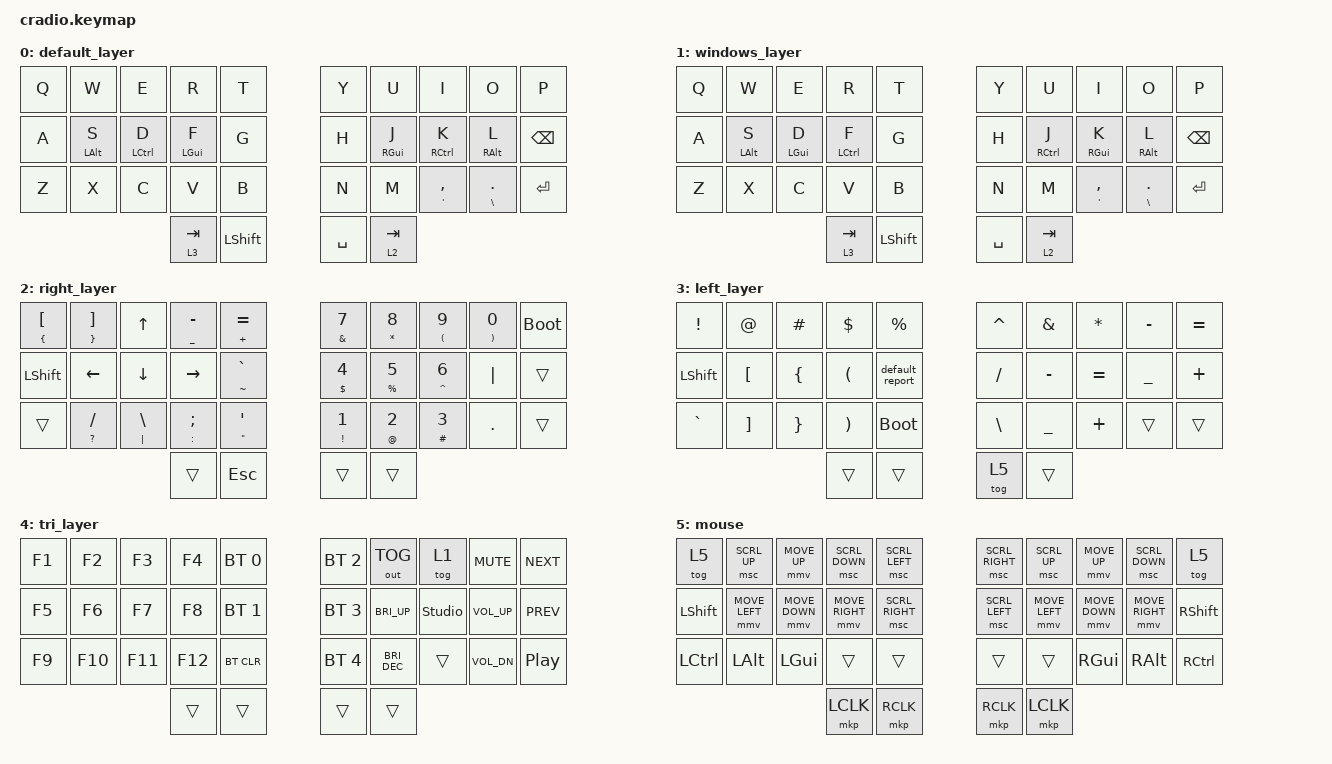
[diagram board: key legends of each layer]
// Copyright (c) 2022 The ZMK Contributors
// SPDX-License-Identifier: MIT

#define ZMK_MOUSE_DEFAULT_MOVE_VAL 920  // 600
#define ZMK_MOUSE_DEFAULT_SCRL_VAL 10    // 10

#include <dt-bindings/zmk/mouse.h>
#include <behaviors.dtsi>
#include <dt-bindings/zmk/bt.h>
#include <dt-bindings/zmk/keys.h>
#include <dt-bindings/zmk/outputs.h>

#define MAC 0
#define WIN 1
#define RIG 2
#define LEF 3
#define TRI 4
#define MOUSE 5

/ {
    chosen { zmk,charmap = &charmap_us; };

    behaviors {
        ht: hold_tap {
            label = "hold_tap";
            compatible = "zmk,behavior-hold-tap";
            #binding-cells = <2>;
            flavor = "tap-preferred";
            tapping-term-ms = <220>;
            quick-tap-ms = <150>;
            global-quick-tap;
            bindings = <&kp>, <&kp>;
        };

        mmv {
            acceleration-exponent = <1>;      // 1
            time-to-max-speed-ms = <500>;    // 100
            delay-ms = <0>;                   // 0
        };

        msc {
            acceleration-exponent = <0>;      // 0
            time-to-max-speed-ms = <0>;      // 80
            delay-ms = <0>;                   // 0
        };
    };

    conditional_layers {
        compatible = "zmk,conditional-layers";

        tri_layer {
            if-layers = <2 3>;
            then-layer = <4>;
        };
    };

    combos {
        compatible = "zmk,combos";

        qst {
            bindings = <&kp SLASH>;
            key-positions = <28 15>;
            layers = <0 1>;
        };

        rb {
            bindings = <&kp RPAR>;
            key-positions = <9 15>;
            layers = <0 1>;
        };

        lb {
            bindings = <&kp LPAR>;
            key-positions = <8 15>;
            layers = <0 1>;
        };

        star {
            bindings = <&kp STAR>;
            key-positions = <7 15>;
            layers = <0 1>;
        };

        amp {
            bindings = <&kp AMPS>;
            key-positions = <6 15>;
            layers = <0 1>;
        };

        caret {
            bindings = <&kp CARET>;
            key-positions = <5 15>;
            layers = <0 1>;
        };

        lcb {
            bindings = <&kp LEFT_BRACKET>;
            key-positions = <15 16>;
            layers = <0 1>;
        };

        rcb {
            bindings = <&kp RIGHT_BRACKET>;
            key-positions = <15 17>;
            layers = <0 1>;
        };

        bslsh {
            bindings = <&kp BACKSLASH>;
            key-positions = <15 18>;
            layers = <0 1>;
        };

        pct {
            bindings = <&kp PRCNT>;
            key-positions = <4 14>;
            layers = <0 1>;
        };

        dollar {
            bindings = <&kp DLLR>;
            key-positions = <3 14>;
            layers = <0 1>;
        };

        hash {
            bindings = <&kp HASH>;
            key-positions = <2 14>;
            layers = <0 1>;
        };

        at {
            bindings = <&kp AT>;
            key-positions = <1 14>;
            layers = <0 1>;
        };

        exclaim {
            bindings = <&kp EXCL>;
            key-positions = <0 14>;
            layers = <0 1>;
        };

        til {
            bindings = <&kp GRAVE>;
            key-positions = <10 14>;
            layers = <0 1>;
        };

        caps {
            bindings = <&kp CAPS>;
            key-positions = <20 10>;
            layers = <0 1>;
        };

        minus {
            bindings = <&kp MINUS>;
            key-positions = <15 19>;
            layers = <0 1 2>;
        };

        equal {
            bindings = <&kp EQUAL>;
            key-positions = <15 29>;
            layers = <0 1 2>;
        };

        esc {
            bindings = <&kp ESCAPE>;
            key-positions = <0 1>;
            layers = <0 1>;
        };

        colon {
            bindings = <&kp SEMICOLON>;
            key-positions = <26 15>;
            layers = <0 1 2>;
        };

        Quote {
            bindings = <&kp APOSTROPHE>;
            key-positions = <27 15>;
            layers = <0 1 2>;
        };

        period {
            bindings = <&kp SEMICOLON>;
            key-positions = <27 28>;
            layers = <0 1 2>;
        };
    };

    keymap {
        compatible = "zmk,keymap";

        default_layer {
            bindings = <
&kp Q  &kp W       &kp E        &kp R       &kp T         &kp Y      &kp U       &kp I          &kp O                 &kp P
&kp A  &ht LALT S  &ht LCTRL D  &ht LGUI F  &kp G         &kp H      &ht RGUI J  &ht RCTRL K    &ht RALT L            &kp BSPC
&kp Z  &kp X       &kp C        &kp V       &kp B         &kp N      &kp M       &ht SQT COMMA  &ht BACKSLASH PERIOD  &kp ENTER
                                &lt 3 TAB   &kp LSHIFT    &kp SPACE  &lt 2 TAB
            >;
        };

        windows_layer {
            bindings = <
&kp Q  &kp W       &kp E       &kp R        &kp T         &kp Y      &kp U        &kp I          &kp O              &kp P
&kp A  &ht LALT S  &ht LGUI D  &ht LCTRL F  &kp G         &kp H      &ht RCTRL J  &ht RGUI K     &ht RALT L         &kp BSPC
&kp Z  &kp X       &kp C       &kp V        &kp B         &kp N      &kp M        &ht SQT COMMA  &ht BACKSLASH DOT  &kp ENTER
                               &lt 3 TAB    &kp LSHIFT    &kp SPACE  &lt 2 TAB
            >;
        };

        right_layer {
            bindings = <
&ht LBRC LEFT_BRACKET  &ht RBRC RIGHT_BRACKET  &kp UP              &ht UNDER MINUS      &ht PLUS EQUAL     &ht AMPS NUMBER_7  &ht STAR NUMBER_8   &ht LPAR NUMBER_9   &ht RPAR NUMBER_0  &bootloader
&kp LEFT_SHIFT         &kp LEFT                &kp DOWN            &kp RIGHT            &ht TILDE GRAVE    &ht DLLR NUMBER_4  &ht PRCNT NUMBER_5  &ht CARET NUMBER_6  &kp PIPE           &trans
&trans                 &ht QMARK SLASH         &ht PIPE BACKSLASH  &ht COLON SEMICOLON  &ht DQT SQT        &ht EXCL NUMBER_1  &ht AT NUMBER_2     &ht HASH NUMBER_3   &kp PERIOD         &trans
                                                                   &trans               &kp ESC            &trans             &trans
            >;
        };

        left_layer {
            bindings = <
&kp EXCL        &kp AT    &kp HASH  &kp DLLR  &kp PRCNT          &kp CARET  &kp AMPS   &kp ASTRK  &kp MINUS       &kp EQUAL
&kp LEFT_SHIFT  &kp LBKT  &kp LBRC  &kp LPAR  &default_report    &kp FSLH   &kp MINUS  &kp EQUAL  &kp UNDERSCORE  &kp PLUS
&kp GRAVE       &kp RBKT  &kp RBRC  &kp RPAR  &bootloader        &kp BSLH   &kp UNDER  &kp PLUS   &trans          &trans
                                    &trans    &trans             &tog 5     &trans
            >;
        };

        tri_layer {
            bindings = <
&kp F1  &kp F2   &kp F3   &kp F4   &bt BT_SEL 0    &bt BT_SEL 2  &out OUT_TOG   &tog 1          &kp C_MUTE    &kp C_NEXT
&kp F5  &kp F6   &kp F7   &kp F8   &bt BT_SEL 1    &bt BT_SEL 3  &kp C_BRI_UP   &studio_unlock  &kp C_VOL_UP  &kp C_PREV
&kp F9  &kp F10  &kp F11  &kp F12  &bt BT_CLR      &bt BT_SEL 4  &kp C_BRI_DEC  &trans          &kp C_VOL_DN  &kp C_PP
                          &trans   &trans          &trans        &trans
            >;
        };

        mouse {
            bindings = <
&tog 5            &msc SCRL_UP    &mmv MOVE_UP    &msc SCRL_DOWN   &msc SCRL_LEFT     &msc SCRL_RIGHT  &msc SCRL_UP    &mmv MOVE_UP    &msc SCRL_DOWN   &tog 5
&kp LEFT_SHIFT    &mmv MOVE_LEFT  &mmv MOVE_DOWN  &mmv MOVE_RIGHT  &msc SCRL_RIGHT    &msc SCRL_LEFT   &mmv MOVE_LEFT  &mmv MOVE_DOWN  &mmv MOVE_RIGHT  &kp RIGHT_SHIFT
&kp LEFT_CONTROL  &kp LEFT_ALT    &kp LEFT_GUI    &trans           &trans             &trans           &trans          &kp RIGHT_GUI   &kp RIGHT_ALT    &kp RIGHT_CONTROL
                                                  &mkp LCLK        &mkp RCLK          &mkp RCLK        &mkp LCLK
            >;
        };
    };
};
